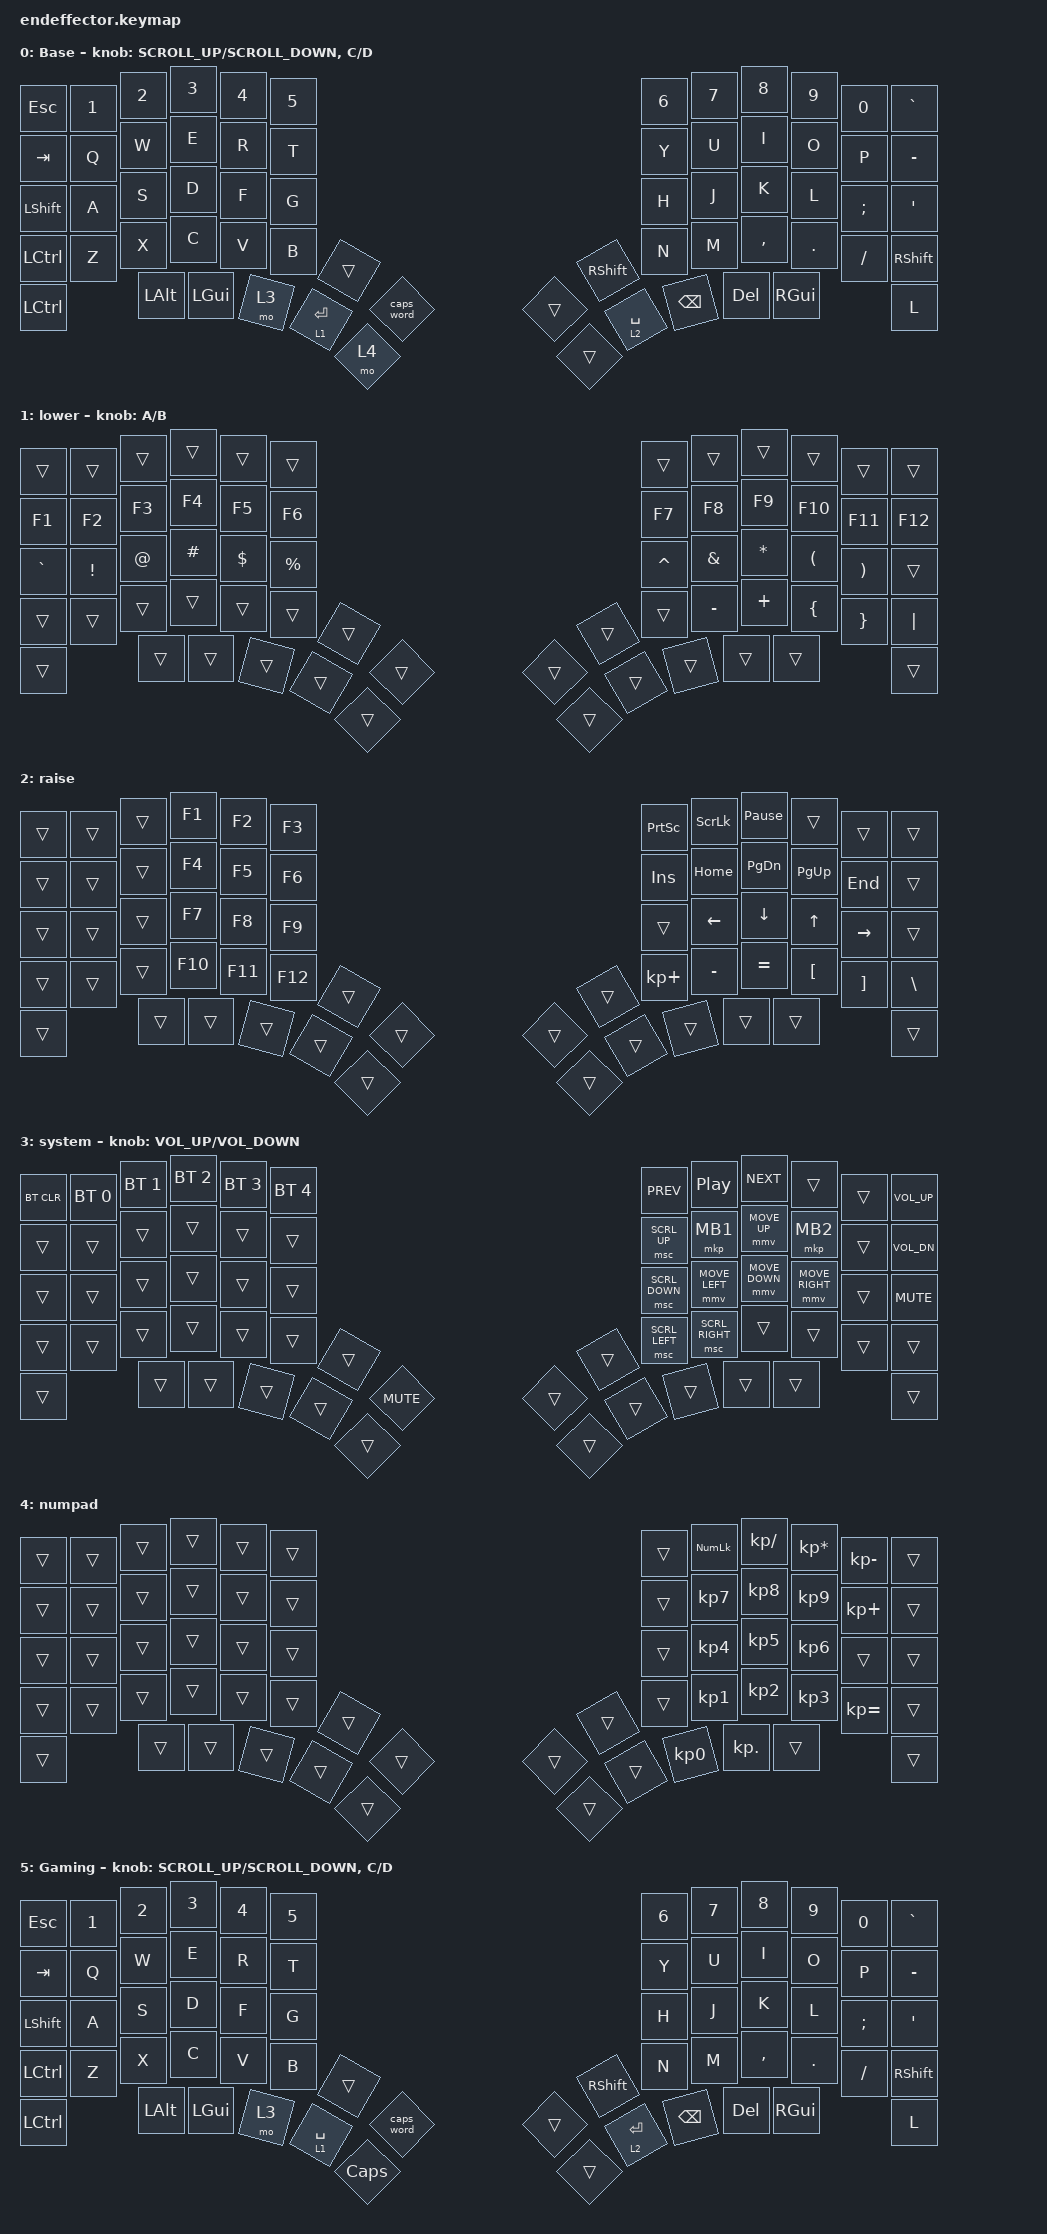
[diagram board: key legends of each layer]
#include <behaviors.dtsi>
#include <dt-bindings/zmk/bt.h>
#include <dt-bindings/zmk/keys.h>
#include <dt-bindings/zmk/pointing.h>

/ {
    combos {
        compatible = "zmk,combos";

        GamingLayer {
            bindings = <&tog 5>;
            key-positions = <11 10>;
        };
    };

    keymap {
        compatible = "zmk,keymap";

        default_layer {
            display-name = "Base";
            bindings = <
&kp ESC    &kp N1  &kp N2    &kp N3    &kp N4  &kp N5                                                    &kp N6  &kp N7    &kp N8     &kp N9    &kp N0    &kp GRAVE
&kp TAB    &kp Q   &kp W     &kp E     &kp R   &kp T                                                     &kp Y   &kp U     &kp I      &kp O     &kp P     &kp MINUS
&kp LSHFT  &kp A   &kp S     &kp D     &kp F   &kp G                                                     &kp H   &kp J     &kp K      &kp L     &kp SEMI  &kp SQT
&kp LCTRL  &kp Z   &kp X     &kp C     &kp V   &kp B   &trans     &caps_word    &trans  &kp RIGHT_SHIFT  &kp N   &kp M     &kp COMMA  &kp DOT   &kp FSLH  &kp RSHFT
&kp LCTRL          &kp LALT  &kp LGUI  &mo 3           &lt 1 RET  &mo 4         &trans  &lt 2 SPACE              &kp BSPC  &kp DEL    &kp RGUI            &kp L
            >;

            sensor-bindings =
                <&inc_dec_kp K_SCROLL_UP K_SCROLL_DOWN>,
                <&inc_dec_kp C D>;
        };

        lower {
            bindings = <
&trans     &trans    &trans       &trans    &trans      &trans                                         &trans     &trans     &trans        &trans                &trans                 &trans
&kp F1     &kp F2    &kp F3       &kp F4    &kp F5      &kp F6                                         &kp F7     &kp F8     &kp F9        &kp F10               &kp F11                &kp F12
&kp GRAVE  &kp EXCL  &kp AT_SIGN  &kp HASH  &kp DOLLAR  &kp PERCENT                                    &kp CARET  &kp AMPS   &kp ASTERISK  &kp LEFT_PARENTHESIS  &kp RIGHT_PARENTHESIS  &trans
&trans     &trans    &trans       &trans    &trans      &trans       &trans  &trans    &trans  &trans  &trans     &kp MINUS  &kp PLUS      &kp LEFT_BRACE        &kp RIGHT_BRACE        &kp PIPE
&trans               &trans       &trans    &trans                   &trans  &trans    &trans  &trans             &trans     &trans        &trans                                       &trans
            >;

            sensor-bindings = <&inc_dec_kp A B>;
        };

        raise {
            bindings = <
&trans  &trans  &trans  &kp F1   &kp F2   &kp F3                                     &kp PSCRN    &kp SLCK        &kp PAUSE_BREAK  &trans            &trans             &trans
&trans  &trans  &trans  &kp F4   &kp F5   &kp F6                                     &kp INSERT   &kp HOME        &kp PG_DN        &kp PAGE_UP       &kp END            &trans
&trans  &trans  &trans  &kp F7   &kp F8   &kp F9                                     &trans       &kp LEFT_ARROW  &kp DOWN_ARROW   &kp UP_ARROW      &kp RIGHT_ARROW    &trans
&trans  &trans  &trans  &kp F10  &kp F11  &kp F12  &trans  &trans    &trans  &trans  &kp KP_PLUS  &kp MINUS       &kp EQUAL        &kp LEFT_BRACKET  &kp RIGHT_BRACKET  &kp BSLH
&trans          &trans  &trans   &trans            &trans  &trans    &trans  &trans               &trans          &trans           &trans                               &trans
            >;
        };

        system {
            bindings = <
&bt BT_CLR  &bt BT_SEL 0  &bt BT_SEL 1  &bt BT_SEL 2  &bt BT_SEL 3  &bt BT_SEL 4                                        &kp C_PREV      &kp C_PP         &kp C_NEXT      &trans           &trans  &kp C_VOLUME_UP
&trans      &trans        &trans        &trans        &trans        &trans                                              &msc SCRL_UP    &mkp MB1         &mmv MOVE_UP    &mkp MB2         &trans  &kp C_VOL_DN
&trans      &trans        &trans        &trans        &trans        &trans                                              &msc SCRL_DOWN  &mmv MOVE_LEFT   &mmv MOVE_DOWN  &mmv MOVE_RIGHT  &trans  &kp C_MUTE
&trans      &trans        &trans        &trans        &trans        &trans        &trans  &kp C_MUTE    &trans  &trans  &msc SCRL_LEFT  &msc SCRL_RIGHT  &trans          &trans           &trans  &trans
&trans                    &trans        &trans        &trans                      &trans  &trans        &trans  &trans                  &trans           &trans          &trans                   &trans
            >;

            sensor-bindings = <&inc_dec_kp C_VOLUME_UP C_VOLUME_DOWN>;
        };

        numpad {
            bindings = <
&trans  &trans  &trans  &trans  &trans  &trans                                    &trans  &kp KP_NUMLOCK   &kp KP_DIVIDE    &kp KP_MULTIPLY  &kp KP_MINUS  &trans
&trans  &trans  &trans  &trans  &trans  &trans                                    &trans  &kp KP_NUMBER_7  &kp KP_NUMBER_8  &kp KP_NUMBER_9  &kp KP_PLUS   &trans
&trans  &trans  &trans  &trans  &trans  &trans                                    &trans  &kp KP_NUMBER_4  &kp KP_NUMBER_5  &kp KP_NUMBER_6  &trans        &trans
&trans  &trans  &trans  &trans  &trans  &trans  &trans  &trans    &trans  &trans  &trans  &kp KP_NUMBER_1  &kp KP_NUMBER_2  &kp KP_NUMBER_3  &kp KP_EQUAL  &trans
&trans          &trans  &trans  &trans          &trans  &trans    &trans  &trans          &kp KP_NUMBER_0  &kp KP_DOT       &trans                         &trans
            >;
        };

        layer_5 {
            display-name = "Gaming";
            bindings = <
&kp ESC    &kp N1  &kp N2    &kp N3    &kp N4  &kp N5                                                        &kp N6  &kp N7    &kp N8     &kp N9    &kp N0    &kp GRAVE
&kp TAB    &kp Q   &kp W     &kp E     &kp R   &kp T                                                         &kp Y   &kp U     &kp I      &kp O     &kp P     &kp MINUS
&kp LSHFT  &kp A   &kp S     &kp D     &kp F   &kp G                                                         &kp H   &kp J     &kp K      &kp L     &kp SEMI  &kp SQT
&kp LCTRL  &kp Z   &kp X     &kp C     &kp V   &kp B   &trans       &caps_word      &trans  &kp RIGHT_SHIFT  &kp N   &kp M     &kp COMMA  &kp DOT   &kp FSLH  &kp RSHFT
&kp LCTRL          &kp LALT  &kp LGUI  &mo 3           &lt 1 SPACE  &kp CAPSLOCK    &trans  &lt 2 RETURN             &kp BSPC  &kp DEL    &kp RGUI            &kp L
            >;

            sensor-bindings =
                <&inc_dec_kp K_SCROLL_UP K_SCROLL_DOWN>,
                <&inc_dec_kp C D>;
        };
    };
};
